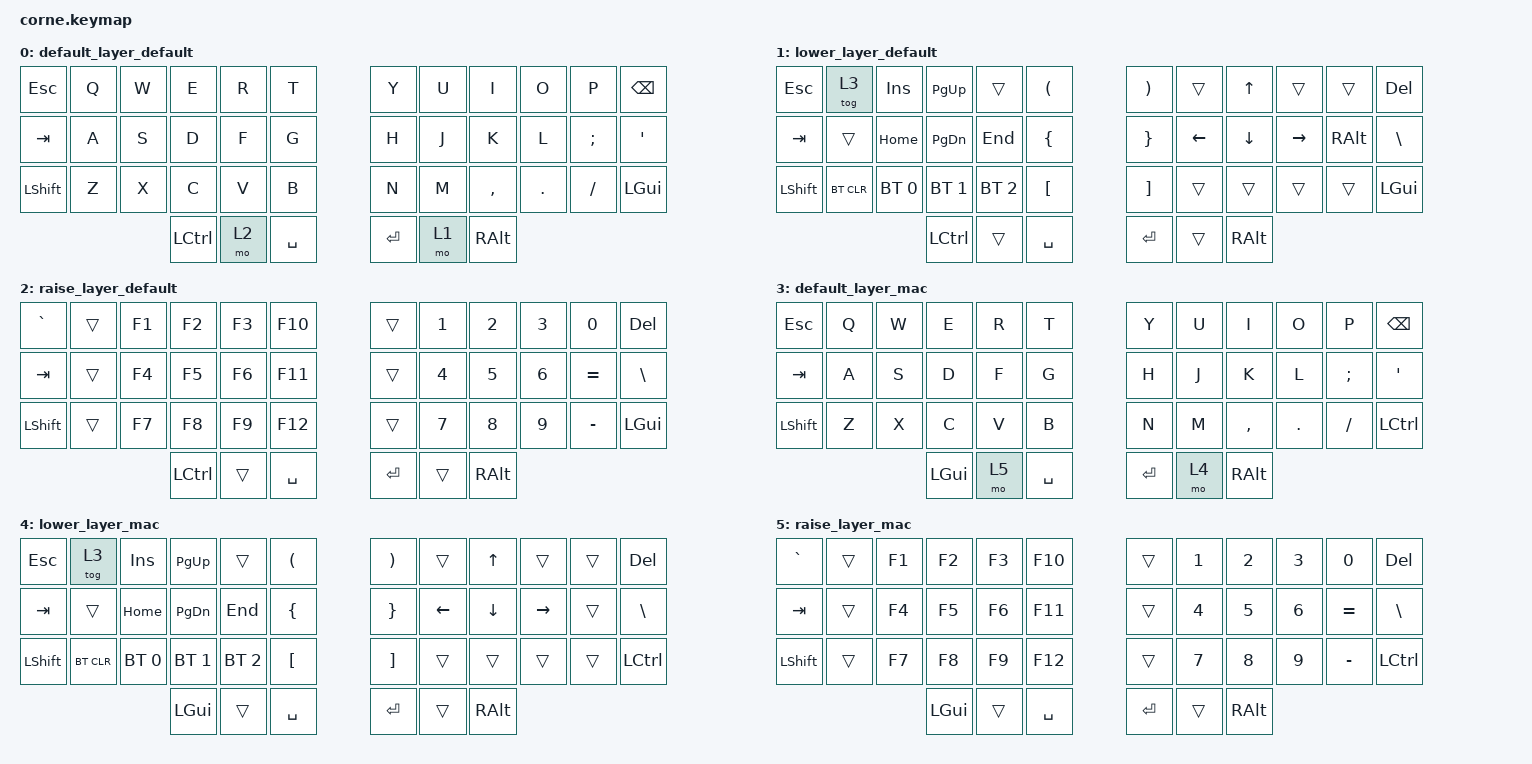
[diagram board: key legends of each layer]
/*
 * Copyright (c) 2020 The ZMK Contributors
 *
 * SPDX-License-Identifier: MIT
 */

#include <behaviors.dtsi>
#include <dt-bindings/zmk/keys.h>
#include <dt-bindings/zmk/bt.h>

/ {
        keymap {
                compatible = "zmk,keymap";

                default_layer_default {
                        bindings = <
    &kp ESC       &kp Q           &kp W           &kp E           &kp R           &kp T             &kp Y       &kp U       &kp I     &kp O        &kp P     &kp BSPC
    &kp TAB       &kp A           &kp S           &kp D           &kp F           &kp G             &kp H       &kp J       &kp K     &kp L        &kp SEMI  &kp SQT
    &kp LSHFT     &kp Z           &kp X           &kp C           &kp V           &kp B             &kp N       &kp M       &kp COMMA &kp DOT      &kp FSLH  &kp LGUI
                                                  &kp LCTRL       &mo 2           &kp SPACE         &kp RET     &mo 1       &kp RALT
                        >;
                };
                lower_layer_default {
                        bindings = <
    &kp ESC       &tog 3          &kp INS         &kp PG_UP       &trans          &kp LPAR          &kp RPAR    &trans      &kp UP    &trans       &trans    &kp DEL
    &kp TAB       &trans          &kp HOME        &kp PG_DN       &kp END         &kp LBRC          &kp RBRC    &kp LEFT    &kp DOWN  &kp RIGHT    &kp RALT  &kp BSLH
    &kp LSHIFT    &bt BT_CLR      &bt BT_SEL 0    &bt BT_SEL 1    &bt BT_SEL 2    &kp LBKT          &kp RBKT    &trans      &trans    &trans       &trans    &kp LGUI
                          	                  &kp LCTRL       &trans          &kp SPACE         &kp RET     &trans      &kp RALT
                        >;
                };
                raise_layer_default {
                        bindings = <
    &kp GRAVE     &trans          &kp F1          &kp F2          &kp F3          &kp F10           &trans      &kp N1      &kp N2    &kp N3       &kp N0    &kp DEL
    &kp TAB       &trans          &kp F4          &kp F5          &kp F6          &kp F11           &trans      &kp N4      &kp N5    &kp N6       &kp EQUAL &kp BSLH
    &kp LSHIFT    &trans          &kp F7          &kp F8          &kp F9          &kp F12           &trans      &kp N7      &kp N8    &kp N9       &kp MINUS &kp LGUI
                          	                  &kp LCTRL       &trans          &kp SPACE         &kp RET     &trans      &kp RALT
                        >;
                };
                
                default_layer_mac {
                        bindings = <
    &kp ESC       &kp Q           &kp W           &kp E           &kp R           &kp T             &kp Y       &kp U       &kp I     &kp O        &kp P     &kp BSPC
    &kp TAB       &kp A           &kp S           &kp D           &kp F           &kp G             &kp H       &kp J       &kp K     &kp L        &kp SEMI  &kp SQT
    &kp LSHFT     &kp Z           &kp X           &kp C           &kp V           &kp B             &kp N       &kp M       &kp COMMA &kp DOT      &kp FSLH  &kp LCTRL
                                                  &kp LGUI        &mo 5           &kp SPACE         &kp RET     &mo 4       &kp RALT
                        >;
                };
                
                lower_layer_mac {
                        bindings = <
    &kp ESC       &tog 3          &kp INS         &kp PG_UP       &trans          &kp LPAR          &kp RPAR    &trans      &kp UP    &trans       &trans    &kp DEL
    &kp TAB       &trans          &kp HOME        &kp PG_DN       &kp END         &kp LBRC          &kp RBRC    &kp LEFT    &kp DOWN  &kp RIGHT    &trans    &kp BSLH
    &kp LSHIFT    &bt BT_CLR      &bt BT_SEL 0    &bt BT_SEL 1    &bt BT_SEL 2    &kp LBKT          &kp RBKT    &trans      &trans    &trans       &trans    &kp LCTRL
                          	                  &kp LGUI        &trans          &kp SPACE         &kp RET     &trans      &kp RALT
                        >;
                };
                raise_layer_mac {
                        bindings = <
    &kp GRAVE     &trans          &kp F1          &kp F2          &kp F3          &kp F10           &trans      &kp N1      &kp N2    &kp N3       &kp N0    &kp DEL
    &kp TAB       &trans          &kp F4          &kp F5          &kp F6          &kp F11           &trans      &kp N4      &kp N5    &kp N6       &kp EQUAL &kp BSLH
    &kp LSHIFT    &trans          &kp F7          &kp F8          &kp F9          &kp F12           &trans      &kp N7      &kp N8    &kp N9       &kp MINUS &kp LCTRL
                          	                  &kp LGUI        &trans          &kp SPACE         &kp RET     &trans      &kp RALT
                        >;
                };
        };
};
